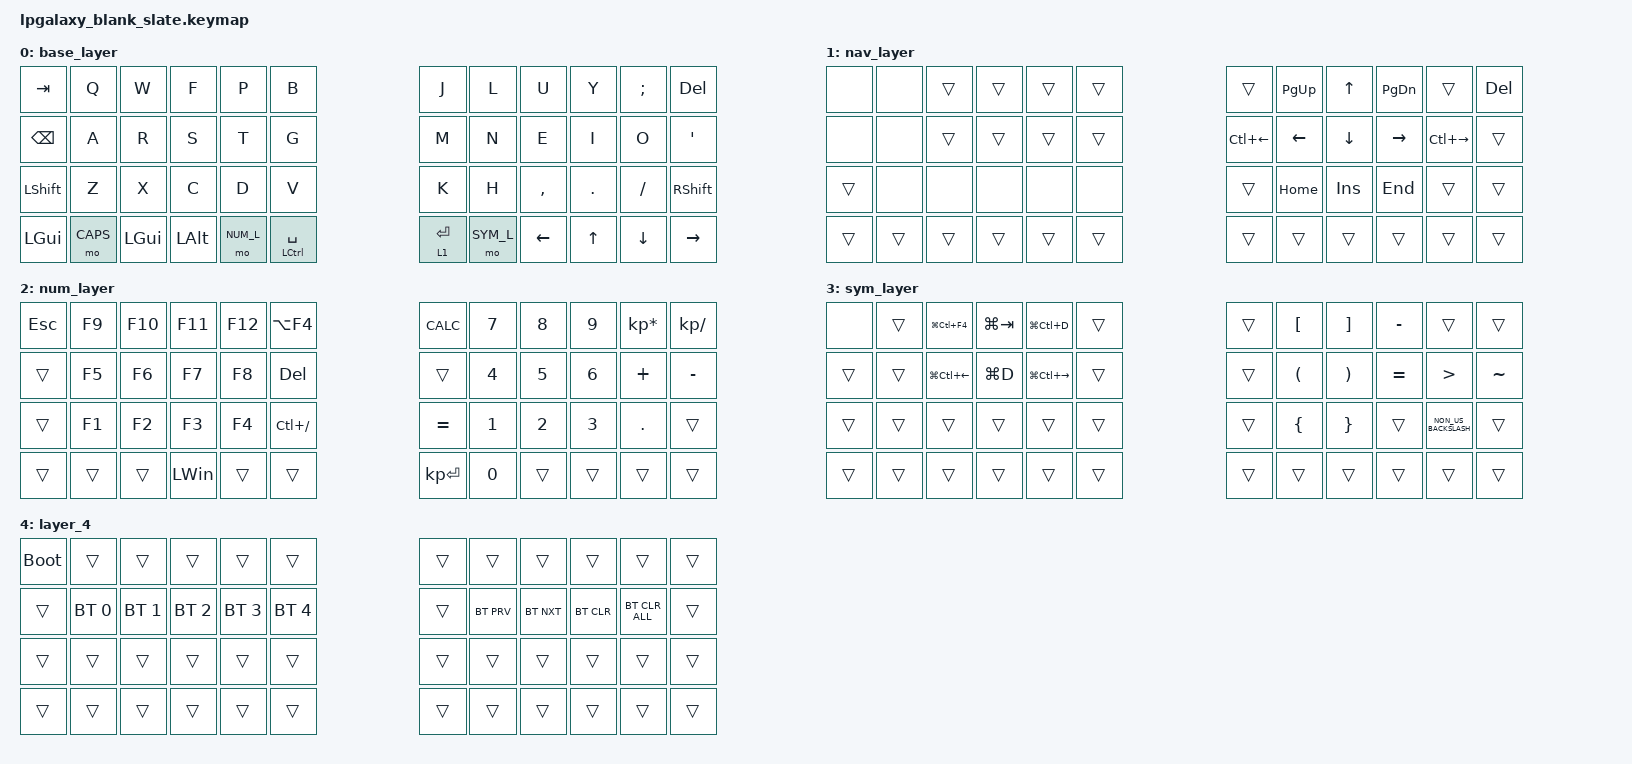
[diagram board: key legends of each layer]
/*
 * Copyright (c) 2022 Pete Johanson
 *
 * SPDX-License-Identifier: MIT
 */

#include <behaviors.dtsi>
#include <dt-bindings/zmk/bt.h>
#include <dt-bindings/zmk/keys.h>

#define BAS_L 0
#define NAV_L 1
#define NUM_L 2
#define SYM_L 3

// Using layer taps on thumbs, having quick tap as well helps w/ repeating space/backspace

&lt { quick_tap_ms = <200>; };

/ {
    combos {
        compatible = "zmk,combos";

        capslock {
            bindings = <&kp CAPS>;
            key-positions = <24 35>;
        };
    };

    keymap {
        compatible = "zmk,keymap";

        base_layer {
            bindings = <
&kp TAB        &kp Q      &kp W     &kp F     &kp P      &kp B                                &kp J      &kp L     &kp U      &kp Y     &kp SEMI   &kp DEL
&kp BACKSPACE  &kp A      &kp R     &kp S     &kp T      &kp G                                &kp M      &kp N     &kp E      &kp I     &kp O      &kp SQT
&kp LSHFT      &kp Z      &kp X     &kp C     &kp D      &kp V                                &kp K      &kp H     &kp COMMA  &kp DOT   &kp FSLH   &kp RSHFT
&kp LGUI      &mo CAPS  &kp LGUI  &kp LALT  &mo NUM_L  &mt LEFT_CONTROL SPACE  &lt 1 ENTER  &mo SYM_L  &kp LEFT  &kp UP     &kp DOWN  &kp RIGHT
            >;
        };

        nav_layer {
            bindings = <
&none   &none   &trans  &trans  &trans  &trans          &trans              &kp PAGE_UP     &kp UP_ARROW    &kp PAGE_DOWN  &trans         &kp DEL
&none   &none   &trans  &trans  &trans  &trans          &kp LC(LEFT_ARROW)  &kp LEFT_ARROW  &kp DOWN_ARROW  &kp RIGHT      &kp LC(RIGHT)  &trans
&trans  &none   &none   &none   &none   &none           &trans              &kp HOME        &kp INSERT      &kp END        &trans         &trans
&trans  &trans  &trans  &trans  &trans  &trans  &trans  &trans              &trans          &trans          &trans         &trans
            >;
        };

        num_layer {
            bindings = <
&kp ESCAPE  &kp F9  &kp F10  &kp F11       &kp F12  &kp LA(F4)                  &kp K_CALC  &kp N7        &kp N8        &kp N9        &kp KP_MULTIPLY  &kp KP_DIVIDE
&trans      &kp F5  &kp F6   &kp F7        &kp F8   &kp DEL                     &trans      &kp NUMBER_4  &kp N5        &kp NUMBER_6  &kp PLUS         &kp MINUS
&trans      &kp F1  &kp F2   &kp F3        &kp F4   &kp LC(FSLH)                &kp EQUAL   &kp NUMBER_1  &kp NUMBER_2  &kp NUMBER_3  &kp PERIOD       &trans
&trans      &trans  &trans   &kp LEFT_WIN  &trans   &trans        &kp KP_ENTER  &kp N0      &trans        &trans        &trans        &trans
            >;
        };

        sym_layer {
            bindings = <
&none   &trans  &kp LG(LC(F4))    &kp LG(TAB)  &kp LG(LC(D))      &trans          &trans  &kp LEFT_BRACKET      &kp RIGHT_BRACKET      &kp MINUS  &trans                &trans
&trans  &trans  &kp LG(LC(LEFT))  &kp LG(D)    &kp LG(LC(RIGHT))  &trans          &trans  &kp LEFT_PARENTHESIS  &kp RIGHT_PARENTHESIS  &kp EQUAL  &kp GREATER_THAN      &kp TILDE
&trans  &trans  &trans            &trans       &trans             &trans          &trans  &kp LEFT_BRACE        &kp RIGHT_BRACE        &trans     &kp NON_US_BACKSLASH  &trans
&trans  &trans  &trans            &trans       &trans             &trans  &trans  &trans  &trans                &trans                 &trans     &trans
            >;
        };

        layer_4 {
            bindings = <
&bootloader  &trans        &trans        &trans        &trans        &trans                &trans  &trans      &trans      &trans      &trans          &trans
&trans       &bt BT_SEL 0  &bt BT_SEL 1  &bt BT_SEL 2  &bt BT_SEL 3  &bt BT_SEL 4          &trans  &bt BT_PRV  &bt BT_NXT  &bt BT_CLR  &bt BT_CLR_ALL  &trans
&trans       &trans        &trans        &trans        &trans        &trans                &trans  &trans      &trans      &trans      &trans          &trans
&trans       &trans        &trans        &trans        &trans        &trans        &trans  &trans  &trans      &trans      &trans      &trans
            >;
        };
    };

    conditional_layers {
        compatible = "zmk,conditional-layers";

        btLayer {
            if-layers = <2 3>;
            then-layer = <4>;
        };
    };
};
